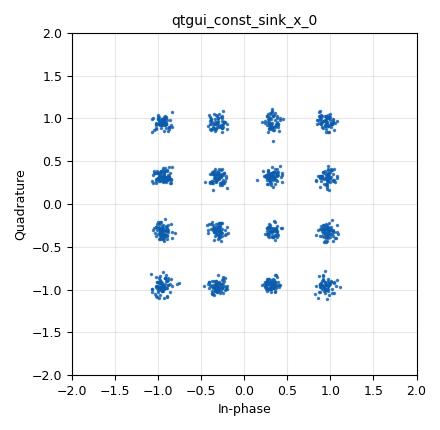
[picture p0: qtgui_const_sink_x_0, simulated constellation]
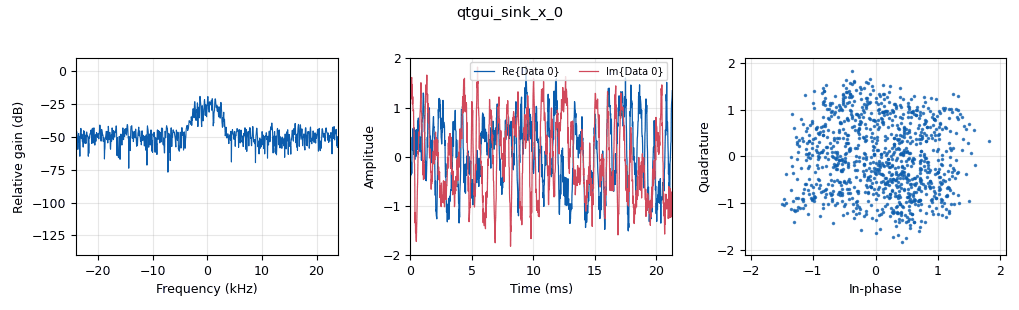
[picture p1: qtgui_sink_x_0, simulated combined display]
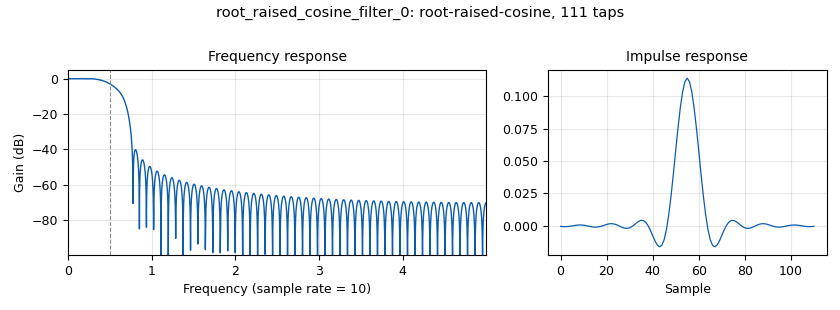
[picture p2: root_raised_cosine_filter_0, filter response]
options:
  parameters:
    author: Paulo Dutra - PU4THZ
    category: Custom
    description: PLL Demo
    generate_options: qt_gui
    id: top_block
    output_language: python
    title: Gr-DDPLL Demo
  states: {}

blocks:
- name: baud
  id: variable
  parameters:
    value: '4800'
  states: {}
- name: const
  id: variable_constellation
  parameters:
    const_points: '[-1-1j, -1+1j, 1+1j, 1-1j] + [3*np.exp(2j*np.pi*i/12) for i in range(12)]'
    precision: '8'
    sym_map: '[i for i in range(16)]'
    type: 16qam
  states: {}
- name: samp_rate
  id: variable
  parameters:
    value: '48000'
  states: {}
- name: sps
  id: variable
  parameters:
    value: int(samp_rate/baud)
  states: {}
- name: variable0
  id: variable_qtgui_range
  parameters:
    label: Bw
    start: '50'
    step: '1'
    stop: '500'
    value: '100'
  states: {}
- name: variable1
  id: variable_qtgui_range
  parameters:
    label: Damp
    start: '0.1'
    step: '0.05'
    stop: '2.0'
    value: '1'
  states: {}
- name: analog_random_source_x_0
  id: analog_random_source_x
  parameters:
    max: '255'
    min: '0'
    num_samps: '4096'
    repeat: 'True'
    type: byte
  states: {}
- name: blocks_null_sink_0
  id: blocks_null_sink
  parameters:
    type: float
  states: {}
- name: blocks_throttle_0
  id: blocks_throttle
  parameters:
    samples_per_second: samp_rate
    type: complex
  states: {}
- name: channels_channel_model_0
  id: channels_channel_model
  parameters:
    epsilon: '1.0'
    freq_offset: '0.0001'
    noise_voltage: 1/4
    seed: '0'
    taps: 1.0 + 0.0j
  states: {}
- name: digital_constellation_modulator_0
  id: digital_constellation_modulator
  parameters:
    constellation: const
    differential: 'True'
    excess_bw: '0.5'
    samples_per_symbol: sps
  states: {}
- name: digital_symbol_sync_xx_0
  id: digital_symbol_sync_xx
  parameters:
    constellation: const.base()
    damping: '1.0'
    loop_bw: '0.045'
    max_dev: '1.5'
    nfilters: '32'
    osps: '1'
    pfb_mf_taps: firdes.root_raised_cosine(32, 32, sps, 0.5, 11*sps*32)
    resamp_type: digital.IR_MMSE_8TAP
    sps: sps
    ted_gain: '1.0'
    ted_type: digital.TED_GARDNER
    type: cc
  states: {}
- name: epy_block_0
  id: epy_block
  parameters:
    _source_code: |
      import numpy as np
      from gnuradio import gr, digital

      class blk(gr.sync_block):  # other base classes are basic_block, decim_block, interp_block
          """
          Decision Directed PLL - Decision Directed based carrier recovery pll

          Parameters:
              bw - Loop Bandwith (default = 2*pi/100)
              damp - Loop Damping (default = 1.0)
              const - Slicer Constellation (default = BPSK)
          """

          def __init__(self, bw=0.0628, damp=1.0, const=digital.bpsk_constellation()):  # only default arguments here
              """arguments to this function show up as parameters in GRC"""
              gr.sync_block.__init__(
                  self,
                  name='Decision Directed PLL',   # will show up in GRC
                  in_sig=[np.complex64],
                  out_sig=[np.complex64, np.float32]
              )
              self.bw = bw
              self.damp = damp

              self.phase = 0
              self.freq = 0
              self.prevgains = [0,0]
              self.slicer_const = const.points()

              self.denom = (len(self.slicer_const) + 2 * self.damp * self.bw + self.bw * self.bw)
              self.alpha = (4 * self.damp * self.bw) /  self.denom
              self.beta = (4 * self.bw * self.bw) / self.denom

          def Decision(self, symbol):
              return self.slicer_const[np.argmin(np.abs(self.slicer_const - symbol))]

          def updateGains(self):
              self.denom = (len(self.slicer_const) + 2 * self.damp * self.bw + self.bw * self.bw) 
              self.alpha = (4 * self.damp * self.bw) /  self.denom
              self.beta = (4 * self.bw * self.bw) / self.denom
              self.phase = 0
              self.freq = 0

          def work(self, input_items, output_items):
              inputs =  input_items[0]
              outputs = output_items[0]
              errors = output_items[1]

              if(self.prevgains[0] != self.bw or self.prevgains[1] != self.damp):
                  self.prevgains = [self.bw*1, self.damp*1]
                  self.updateGains()

              for i in range(len(inputs)):
                  out = inputs[i] * np.exp(-1j*self.phase)
                  error = (out * np.conj(self.Decision(out))).imag
                  self.freq += self.beta * error
                  self.phase += self.freq + self.alpha * error
                  self.phase = (np.pi + self.phase) % (2*np.pi) - np.pi
                  outputs[i] = out
                  errors[i] = error
              return len(outputs)
    bw: 2*np.pi/variable0
    const: const
    damp: 1*variable1
  states: {}
- name: import_0
  id: import
  parameters:
    imports: import numpy as np
  states: {}
- name: qtgui_const_sink_x_0
  id: qtgui_const_sink_x
  parameters:
    size: '1024'
    type: complex
  states: {}
- name: qtgui_sink_x_0
  id: qtgui_sink_x
  parameters:
    bw: samp_rate
    fc: '0'
    fftsize: '1024'
    type: complex
  states: {}
- name: root_raised_cosine_filter_0
  id: root_raised_cosine_filter
  parameters:
    alpha: '0.5'
    decim: '1'
    gain: '1'
    ntaps: 11*sps
    samp_rate: sps
    sym_rate: '1'
    type: fir_filter_ccf
  states: {}

connections:
- [analog_random_source_x_0, '0', digital_constellation_modulator_0, '0']
- [blocks_throttle_0, '0', channels_channel_model_0, '0']
- [channels_channel_model_0, '0', qtgui_sink_x_0, '0']
- [channels_channel_model_0, '0', root_raised_cosine_filter_0, '0']
- [digital_constellation_modulator_0, '0', blocks_throttle_0, '0']
- [digital_symbol_sync_xx_0, '0', epy_block_0, '0']
- [epy_block_0, '0', qtgui_const_sink_x_0, '0']
- [epy_block_0, '1', blocks_null_sink_0, '0']
- [root_raised_cosine_filter_0, '0', digital_symbol_sync_xx_0, '0']

metadata:
  file_format: 1
  grc_version: 3.10.5.1
